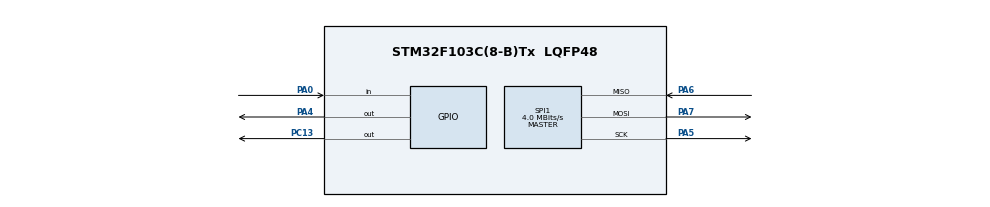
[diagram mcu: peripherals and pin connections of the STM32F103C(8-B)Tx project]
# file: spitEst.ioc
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Mcu.Family=STM32F1
Mcu.Name=STM32F103C(8-B)Tx
Mcu.Package=LQFP48
NVIC.PriorityGroup=NVIC_PRIORITYGROUP_4
PA0-WKUP.GPIO_PuPd=GPIO_PULLUP
PA0-WKUP.Signal=GPIO_Input
PA13.Mode=Serial_Wire
PA13.Signal=SYS_JTMS-SWDIO
PA14.Mode=Serial_Wire
PA14.Signal=SYS_JTCK-SWCLK
PA4.GPIO_ModeDefaultOutputPP=GPIO_MODE_OUTPUT_PP
PA4.GPIO_Speed=GPIO_SPEED_FREQ_HIGH
PA4.PinState=GPIO_PIN_SET
PA4.Signal=GPIO_Output
PA5.Mode=Full_Duplex_Master
PA5.Signal=SPI1_SCK
PA6.Mode=Full_Duplex_Master
PA6.Signal=SPI1_MISO
PA7.Mode=Full_Duplex_Master
PA7.Signal=SPI1_MOSI
PC13-TAMPER-RTC.GPIO_ModeDefaultOutputPP=GPIO_MODE_OUTPUT_OD
PC13-TAMPER-RTC.GPIO_PuPd=GPIO_NOPULL
PC13-TAMPER-RTC.PinState=GPIO_PIN_SET
PC13-TAMPER-RTC.Signal=GPIO_Output
ProjectManager.HeapSize=0x200
ProjectManager.StackSize=0x400
ProjectManager.TargetToolchain=MDK-ARM V5.32
RCC.APB1Freq_Value=8000000
RCC.APB2Freq_Value=8000000
SPI1.CLKPhase=SPI_PHASE_2EDGE
SPI1.CLKPolarity=SPI_POLARITY_HIGH
SPI1.CalculateBaudRate=4.0 MBits/s
SPI1.Direction=SPI_DIRECTION_2LINES
SPI1.Mode=SPI_MODE_MASTER
SPI1.VirtualType=VM_MASTER
board=custom

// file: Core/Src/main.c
/* USER CODE BEGIN Header */
/**
  ******************************************************************************
  * @file           : main.c
  * @brief          : Main program body
  ******************************************************************************
  * @attention
  *
  * Copyright (c) 2025 STMicroelectronics.
  * All rights reserved.
  *
  * This software is licensed under terms that can be found in the LICENSE file
  * in the root directory of this software component.
  * If no LICENSE file comes with this software, it is provided AS-IS.
  *
  ******************************************************************************
  */
/* USER CODE END Header */
#include "main.h"

SPI_HandleTypeDef hspi1;

void SystemClock_Config(void);
static void MX_GPIO_Init(void);
static void MX_SPI1_Init(void);
/* USER CODE BEGIN PFP */
static void SaveLEDState(uint8_t state);
static uint8_t ReadLEDState(void);
/* USER CODE END PFP */

/* USER CODE BEGIN 0 */
static uint8_t ReadLEDState(void)
{
  uint8_t readData[] = {0x03,0x00,0x00,0x00};
  uint8_t readByte = 0xff;
    HAL_GPIO_WritePin(GPIOA,GPIO_PIN_4,GPIO_PIN_RESET);
    HAL_SPI_Transmit(&hspi1, readData, 4, 100);
    HAL_SPI_Receive(&hspi1, &readByte, 1, 100);
    HAL_GPIO_WritePin(GPIOA,GPIO_PIN_4,GPIO_PIN_SET);
    return readByte;
}

 static void SaveLEDState(uint8_t state)
 {
  // 1.写使能
  uint8_t writeEnableCmd[] = {0x06};
  HAL_GPIO_WritePin(GPIOA,GPIO_PIN_4,GPIO_PIN_RESET);
  HAL_SPI_Transmit(&hspi1, writeEnableCmd, 1, 100);
  HAL_GPIO_WritePin(GPIOA,GPIO_PIN_4,GPIO_PIN_SET);
  // 2.扇区擦除、
  uint8_t sectorErase[] = {0x20,0x00,0x00,0x00};
  HAL_GPIO_WritePin(GPIOA,GPIO_PIN_4,GPIO_PIN_RESET);
  HAL_SPI_Transmit(&hspi1, sectorErase, 4, 100);
  HAL_GPIO_WritePin(GPIOA,GPIO_PIN_4,GPIO_PIN_SET);
  HAL_Delay(100);
  // 3.写使能
  HAL_GPIO_WritePin(GPIOA,GPIO_PIN_4,GPIO_PIN_RESET);
  HAL_SPI_Transmit(&hspi1, writeEnableCmd, 1, 100);
  HAL_GPIO_WritePin(GPIOA,GPIO_PIN_4,GPIO_PIN_SET);
  //4.页编程
  uint8_t pageProgram[] = {0x02,0x00,0x00,0x00,state};
  HAL_GPIO_WritePin(GPIOA,GPIO_PIN_4,GPIO_PIN_RESET);
  HAL_SPI_Transmit(&hspi1, pageProgram, 5, 100);
  HAL_GPIO_WritePin(GPIOA,GPIO_PIN_4,GPIO_PIN_SET);
 }
/* USER CODE END 0 */

int main(void)
{

  /* MCU Configuration--------------------------------------------------------*/

  /* Reset of all peripherals, Initializes the Flash interface and the Systick. */
  HAL_Init();

  /* Configure the system clock */
  SystemClock_Config();

  /* Initialize all configured peripherals */
  MX_GPIO_Init();
  MX_SPI1_Init();

  /* Infinite loop */
  /* USER CODE BEGIN WHILE */
  uint8_t pre = 1,cur = 1;
  uint8_t ledState = 1;
  ledState = ReadLEDState();
  if(ledState == 1)
  {
    HAL_GPIO_WritePin(GPIOC,GPIO_PIN_13,GPIO_PIN_RESET);
  }
  else{
    HAL_GPIO_WritePin(GPIOC,GPIO_PIN_13,GPIO_PIN_SET);
  }
  while (1)
  {
    pre = cur;
    if(HAL_GPIO_ReadPin(GPIOA, GPIO_PIN_0) == GPIO_PIN_SET)
    {
      cur = 1;
    }
    else{
      cur = 0;
    }
    if(pre != cur)
    {
      if(cur == 0)
      {

      }
      else
      {
        if(ledState == 1)
        {
          ledState = 0;
          HAL_GPIO_WritePin(GPIOC, GPIO_PIN_13, GPIO_PIN_SET);
        }
        else
        {
          ledState = 1;
          HAL_GPIO_WritePin(GPIOC, GPIO_PIN_13, GPIO_PIN_RESET);
        }
        SaveLEDState(ledState);
      }

    }
    /* USER CODE END WHILE */

  }
}

void SystemClock_Config(void)
{
  RCC_OscInitTypeDef RCC_OscInitStruct = {0};
  RCC_ClkInitTypeDef RCC_ClkInitStruct = {0};

  /** Initializes the RCC Oscillators according to the specified parameters
  * in the RCC_OscInitTypeDef structure.
  */
  RCC_OscInitStruct.OscillatorType = RCC_OSCILLATORTYPE_HSI;
  RCC_OscInitStruct.HSIState = RCC_HSI_ON;
  RCC_OscInitStruct.HSICalibrationValue = RCC_HSICALIBRATION_DEFAULT;
  RCC_OscInitStruct.PLL.PLLState = RCC_PLL_NONE;
  if (HAL_RCC_OscConfig(&RCC_OscInitStruct) != HAL_OK)
  {
    Error_Handler();
  }

  /** Initializes the CPU, AHB and APB buses clocks
  */
  RCC_ClkInitStruct.ClockType = RCC_CLOCKTYPE_HCLK|RCC_CLOCKTYPE_SYSCLK
                              |RCC_CLOCKTYPE_PCLK1|RCC_CLOCKTYPE_PCLK2;
  RCC_ClkInitStruct.SYSCLKSource = RCC_SYSCLKSOURCE_HSI;
  RCC_ClkInitStruct.AHBCLKDivider = RCC_SYSCLK_DIV1;
  RCC_ClkInitStruct.APB1CLKDivider = RCC_HCLK_DIV1;
  RCC_ClkInitStruct.APB2CLKDivider = RCC_HCLK_DIV1;

  if (HAL_RCC_ClockConfig(&RCC_ClkInitStruct, FLASH_LATENCY_0) != HAL_OK)
  {
    Error_Handler();
  }
}

static void MX_SPI1_Init(void)
{

  /* SPI1 parameter configuration*/
  hspi1.Instance = SPI1;
  hspi1.Init.Mode = SPI_MODE_MASTER;
  hspi1.Init.Direction = SPI_DIRECTION_2LINES;
  hspi1.Init.DataSize = SPI_DATASIZE_8BIT;
  hspi1.Init.CLKPolarity = SPI_POLARITY_HIGH;
  hspi1.Init.CLKPhase = SPI_PHASE_2EDGE;
  hspi1.Init.NSS = SPI_NSS_SOFT;
  hspi1.Init.BaudRatePrescaler = SPI_BAUDRATEPRESCALER_2;
  hspi1.Init.FirstBit = SPI_FIRSTBIT_MSB;
  hspi1.Init.TIMode = SPI_TIMODE_DISABLE;
  hspi1.Init.CRCCalculation = SPI_CRCCALCULATION_DISABLE;
  hspi1.Init.CRCPolynomial = 10;
  if (HAL_SPI_Init(&hspi1) != HAL_OK)
  {
    Error_Handler();
  }

}

static void MX_GPIO_Init(void)
{
  GPIO_InitTypeDef GPIO_InitStruct = {0};

  /* GPIO Ports Clock Enable */
  __HAL_RCC_GPIOC_CLK_ENABLE();
  __HAL_RCC_GPIOA_CLK_ENABLE();

  /*Configure GPIO pin Output Level */
  HAL_GPIO_WritePin(GPIOC, GPIO_PIN_13, GPIO_PIN_SET);

  /*Configure GPIO pin Output Level */
  HAL_GPIO_WritePin(GPIOA, GPIO_PIN_4, GPIO_PIN_SET);

  /*Configure GPIO pin : PC13 */
  GPIO_InitStruct.Pin = GPIO_PIN_13;
  GPIO_InitStruct.Mode = GPIO_MODE_OUTPUT_OD;
  GPIO_InitStruct.Pull = GPIO_NOPULL;
  GPIO_InitStruct.Speed = GPIO_SPEED_FREQ_LOW;
  HAL_GPIO_Init(GPIOC, &GPIO_InitStruct);

  /*Configure GPIO pin : PA0 */
  GPIO_InitStruct.Pin = GPIO_PIN_0;
  GPIO_InitStruct.Mode = GPIO_MODE_INPUT;
  GPIO_InitStruct.Pull = GPIO_PULLUP;
  HAL_GPIO_Init(GPIOA, &GPIO_InitStruct);

  /*Configure GPIO pin : PA4 */
  GPIO_InitStruct.Pin = GPIO_PIN_4;
  GPIO_InitStruct.Mode = GPIO_MODE_OUTPUT_PP;
  GPIO_InitStruct.Pull = GPIO_NOPULL;
  GPIO_InitStruct.Speed = GPIO_SPEED_FREQ_HIGH;
  HAL_GPIO_Init(GPIOA, &GPIO_InitStruct);

}

void Error_Handler(void)
{
  __disable_irq();
  while (1)
  {
  }
}
